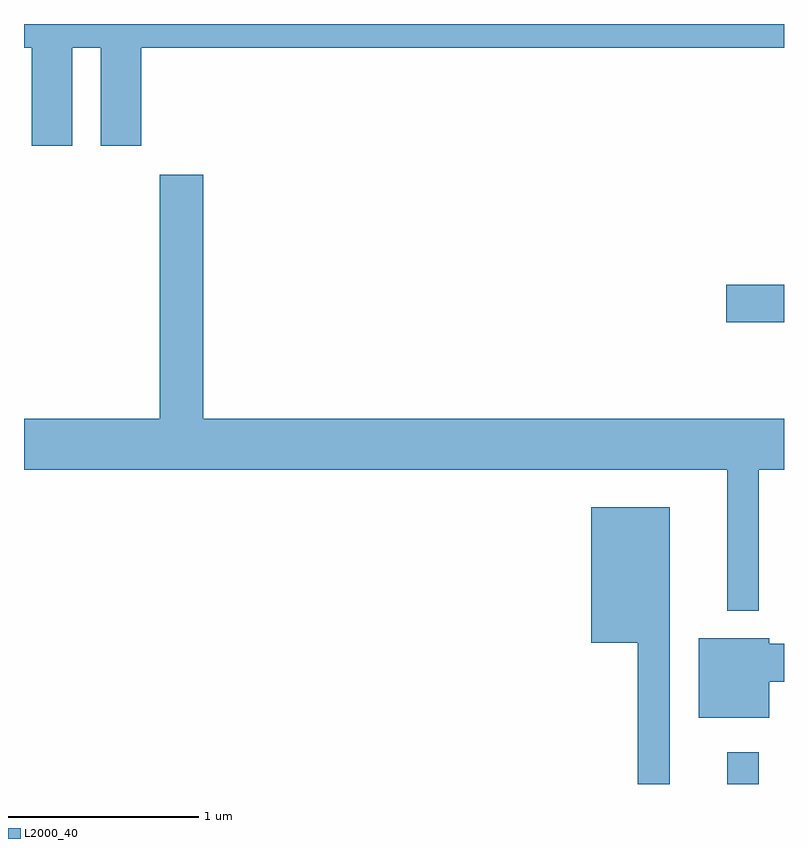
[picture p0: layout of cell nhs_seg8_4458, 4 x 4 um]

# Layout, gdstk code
import gdstk
lib = gdstk.Library(unit=1e-6, precision=1e-09)
def R(c, l, rs):  # rectangles x0, y0, x1, y1
    for r in rs: c.add(gdstk.rectangle(r[:2], r[2:], *l))
def P(c, l, *ps):  # polygons
    for p in ps: c.add(gdstk.Polygon(p, *l))
L2000_40 = (2000, 40)

nhs_seg8_4458 = lib.new_cell('nhs_seg8_4458')
R(nhs_seg8_4458, L2000_40, [(323.311,1810.342,323.479,1810.508), (323.306,1812.771,323.611,1812.969)])
P(nhs_seg8_4458, L2000_40, [(319.864,1814.216),(320.016,1814.216),(320.016,1813.701),(320.229,1813.701),(320.229,1814.216),(323.611,1814.216),(323.611,1814.342),(319.611,1814.342),(319.611,1814.216),(319.651,1814.216),(319.651,1813.701),(319.864,1813.701)],
  [(323.479,1811.996),(323.611,1811.996),(323.611,1812.264),(320.554,1812.264),(320.554,1813.549),(320.326,1813.549),(320.326,1812.264),(319.611,1812.264),(319.611,1811.996),(323.311,1811.996),(323.311,1811.253),(323.479,1811.253)],
  [(323.009,1811.799),(322.596,1811.799),(322.596,1811.086),(322.841,1811.086),(322.841,1810.342),(323.009,1810.342)],
  [(323.534,1810.881),(323.611,1810.881),(323.611,1811.079),(323.534,1811.079),(323.534,1811.109),(323.161,1811.109),(323.161,1810.691),(323.534,1810.691)])

lib.write_gds('nhs_seg8_4458.gds')
